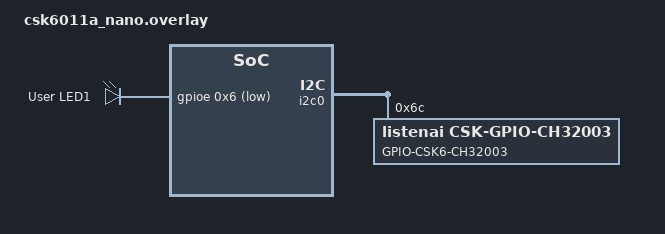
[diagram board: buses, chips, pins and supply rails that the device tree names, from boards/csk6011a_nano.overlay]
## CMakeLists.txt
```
# SPDX-License-Identifier: Apache-2.0

cmake_minimum_required(VERSION 3.20.0)

find_package(Zephyr REQUIRED HINTS $ENV{ZEPHYR_BASE})
project(hello_world)

target_sources(app PRIVATE src/main.c src/boot_cp.c)
```

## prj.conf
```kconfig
# nothing here
CONFIG_GPIO=y
CONFIG_GPIO_CSK6_CH32V003=y
CONFIG_LOG=y
```

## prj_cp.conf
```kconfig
# nothing here
CONFIG_CSK6_PSRAM=y
```

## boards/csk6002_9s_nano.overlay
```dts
&pinctrl {
    pinctrl_uart1_rx_default: uart1_rx_default{
        pinctrls = <UART1_RXD_GPIOA_05>;
    };

    pinctrl_uart1_tx_default: uart1_tx_default{
        pinctrls = <UART1_TXD_GPIOA_04>;
    };
};

&uart0 {
    // dmas = <&dma0 0 1>, <&dma0 0 1>; 
    // dma-names = "tx", "rx";
};

&uart1 {
    pinctrl-0 = <&pinctrl_uart1_rx_default &pinctrl_uart1_tx_default>;
    pinctrl-names = "default";
    dmas = <&dma0 0 1>, <&dma0 1 1>;
    dma-names = "tx", "rx";
    status = "okay";
    current-speed = <115200>;
};

&dma0 {
    status = "okay";
};
```

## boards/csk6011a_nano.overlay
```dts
/ {
	leds {
		compatible = "gpio-leds";
		green_led: led1 {
			gpios = <&gpioe 0x6 0x1>;
			label = "User LED1";
		};
	};
};

&pinctrl {

	pinctrl_i2c0_scl_default: i2c0_scl_default{
		pinctrls = <I2C0_SCL_GPIOB_10>;
	};

	pinctrl_i2c0_sda_default: i2c0_sda_default{
		pinctrls = <I2C0_SDA_GPIOB_11>;
	};  
};

&i2c0 {
	status = "okay";
	pinctrl-0 = <&pinctrl_i2c0_scl_default &pinctrl_i2c0_sda_default>;
	pinctrl-names = "default";
	csk6_ch32v003@6c {
		compatible = "listenai,csk-gpio-ch32003";
		reg = <0x6c>;
		label = "GPIO-CSK6-CH32003";
		status = "okay";
		#address-cells = <1>;
		#size-cells = <0>;

		gpioc: gpio@0 {
			compatible = "listenai,csk-gpio-ch32003-port";
			label = "GPIOC";
			reg = <0x00>;
			status = "okay";
			ngpios = <8>;
			#gpio-cells = <2>;
			gpio-controller;
			pin_mask = <0x00>;
		};

		gpiod: gpio@1 {
			compatible = "listenai,csk-gpio-ch32003-port";
			label = "GPIOD";
			reg = <0x01>;
			status = "okay";
			ngpios = <8>;
			#gpio-cells = <2>;
			gpio-controller;
			pin_mask = <0xff>;
		};

		gpioe: gpio@2 {
			compatible = "listenai,csk-gpio-ch32003-port";
			label = "GPIOE";
			reg = <0x02>;
			status = "okay";
			ngpios = <8>;
			#gpio-cells = <2>;
			gpio-controller;
		};
	};
};
```

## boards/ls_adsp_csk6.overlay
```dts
&ls_adsp_csk6_pinctrl{
                pinctrl_uart2_tx_default: uart2_tx_default {
                        pinctrls = < &pinmuxb 0x4 0x3 >;
                };
};

&spi_fake {
        status = "okay";

        
};
```

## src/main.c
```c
/*
 * Copyright (c) 2012-2014 Wind River Systems, Inc.
 *
 * SPDX-License-Identifier: Apache-2.0
 */

#include <zephyr/zephyr.h>

extern void boot_cp(void);
void main(void)
{
	printk("Hello World! %s\n", CONFIG_BOARD);
	boot_cp();
	printk("after boot cp !\n");

}
```

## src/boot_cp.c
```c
#include <zephyr/zephyr.h>
#include <stdint.h>
#include <stdbool.h>
#include <zephyr/device.h>
#include <zephyr/devicetree.h>
#include <zephyr/storage/flash_map.h>
#include <zephyr/logging/log.h>
#include "venus_ap.h"
LOG_MODULE_REGISTER(boot_cp, CONFIG_LOG_DEFAULT_LEVEL);

#define CP_FLASH_BASE_ADDRESS (0x68000000)
#define FLASH_CP_IMAGE_REGION_OFFSET (0x90000)
#define CP_BOOT_ADDRESS   (CP_FLASH_BASE_ADDRESS + FLASH_CP_IMAGE_REGION_OFFSET)

#define CP_XIP (1)
extern void dcache_invalidate_range(unsigned long start, unsigned long end);
void boot_cp(void)
{

	// set boot address
	printk("CP XIP start addr(0x%x)\n", CP_BOOT_ADDRESS);
	IP_SYSCTRL->REG_CP_CTRL2.bit.CP_BOOT_ADDR = CP_BOOT_ADDRESS;

	IP_SYSCTRL->REG_CP_CTRL1.bit.CP_STAT_VECTOR_SEL = 1;

	// stall HIFI4
	IP_SYSCTRL->REG_CP_CTRL1.bit.CP_HIFI4_RUNSTALL = 1;

	// release CP & NPU
	IP_SYSCTRL->REG_SW_RESET_CP.all = 0xCAFE100B;
	if (IP_SYSCTRL->REG_SW_RESET_NPU.all)
		IP_SYSCTRL->REG_SW_RESET_NPU.all = 0xCAFE000C;
	__DMB();
	__DSB();

	// run cp
	IP_SYSCTRL->REG_SW_RESET_CP.all = 0xCAFE000B;
	IP_SYSCTRL->REG_SW_RESET_CP.all = 0xCAFE100B;
	IP_SYSCTRL->REG_CP_CTRL1.bit.CP_HIFI4_RUNSTALL = 0x0;

/*------------------------------private define------------------------------------*/
#define MEM_BANK_CNT 4
#define SHAREMEMORY_BANK0_REMAP 1
#define AP_SYS_RAM_BANK_SIZE 0x00010000
#define AP_SYS_RAM_BANK_ADDR (0x20080000 + AP_SYS_RAM_BANK_SIZE * MEM_BANK_CNT)
	IP_SYSCTRL->REG_AP_CTRL1.bit.AP_RAM_SEL = (SHAREMEMORY_BANK0_REMAP << MEM_BANK_CNT);
	memset((void *)AP_SYS_RAM_BANK_ADDR, 0x00, AP_SYS_RAM_BANK_SIZE);
	// clean & invalidate cache, 确保后续读取到的对象来自于对端写入的共享内存.
	dcache_invalidate_range(AP_SYS_RAM_BANK_ADDR, AP_SYS_RAM_BANK_ADDR + AP_SYS_RAM_BANK_SIZE);

	// #define MEM_BANK1_CNT 3
	// #define AP_SYS_RAM_BANK1_ADDR (0x20080000 + AP_SYS_RAM_BANK_SIZE * MEM_BANK1_CNT)
	// 	IP_SYSCTRL->REG_AP_CTRL1.bit.AP_RAM_SEL = (SHAREMEMORY_BANK0_REMAP << MEM_BANK1_CNT);
	// 	memset((void *)AP_SYS_RAM_BANK1_ADDR, 0x00, AP_SYS_RAM_BANK_SIZE);
	// 	// clean & invalidate cache, 确保后续读取到的对象来自于对端写入的共享内存.
	// 	dcache_invalidate_range(AP_SYS_RAM_BANK1_ADDR, AP_SYS_RAM_BANK1_ADDR + AP_SYS_RAM_BANK_SIZE);

	// enable usb clock
	IP_SYSCTRL->REG_MISC_CLK_CFG2.bit.ENA_USBC_CLK = 0x01;
}
```

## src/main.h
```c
/*
 * main.h
 *
 *  Created on: Nov. 6, 2020
 *      Author: bauldeng
 */

#ifndef __AUD_IN_AUD_OUT_MAIN_H
#define __AUD_IN_AUD_OUT_MAIN_H

#include <string.h>
#include <stdbool.h>
#include <assert.h>

#include "venus_cp.h"
#include "IOMuxManager.h"
#include "venus_log.h"
#include "Driver_I2S.h"
#include "Driver_ADC_PDM.h"
#include "Driver_DAC.h"
#include "Driver_GPIO.h"

//----------------------------------------------------------------------------
#define IOMUX_V4    4
#define IOMUX_V5    5
#define IOMUX_VER   IOMUX_V5 // IOMUX_V4


#if (IOMUX_VER == IOMUX_V4)

// I2S2 Pin
#define I2S2_MCLK   5 // GPIOB, 5, 1
#define I2S2_BCK    6 // GPIOB, 6, 1
#define I2S2_LRCK   7 // GPIOB, 7, 1
#define I2S2_DOUT   8 // GPIOB, 8, 1
#define I2S2_DIN    9 // GPIOB, 9, 1

// I2S2 Pin function select
#define I2S2_FUNC   1 // function 1

// I2S2 Pin group
#define I2S2_GROUP  CSK_IOMUX_PAD_B

// I2S1 Pin
#define I2S1_MCLK   0 // GPIOB, 0, 2
#define I2S1_BCK    6 // GPIOB, 6, 2
#define I2S1_LRCK   7 // GPIOB, 7, 2
#define I2S1_DOUT   8 // GPIOB, 8, 2
#define I2S1_DIN    9 // GPIOB, 9, 2

// I2S1 Pin function select
#define I2S1_FUNC   2 // function 2

// I2S1 Pin group
#define I2S1_GROUP  CSK_IOMUX_PAD_B

// I2S0 Pin
#define I2S0_MCLK   I2S1_MCLK
#define I2S0_BCK    1 // GPIOB, 1, 1
#define I2S0_LRCK   2 // GPIOB, 2, 1
#define I2S0_DIN    3 // GPIOB, 3, 1

// I2S0 Pin function select
#define I2S0_FUNC   1 // function 1 (except MCLK)

// I2S0 Pin group
#define I2S0_GROUP  CSK_IOMUX_PAD_B

// I2C0 Pin
#define I2C0_SCL    17 // GPIOA, 17, 6
#define I2C0_SDA    18 // GPIOA, 18, 6

// I2C0 Pin function select
#define I2C0_FUNC   6 // function 6

// I2C0 Pin group
#define I2C0_GROUP  CSK_IOMUX_PAD_A

// I2C1 Pin
#define I2C1_SCL    17 // GPIOA, 17, 7
#define I2C1_SDA    18 // GPIOA, 18, 7

// I2C1 Pin function select
#define I2C1_FUNC   7 // function 7

// I2C1 Pin group
#define I2C1_GROUP  CSK_IOMUX_PAD_A

#elif (IOMUX_VER == IOMUX_V5)

//-----------------------------------
// I2S2 Pin
#define I2S2_MCLK   15 // GPIOA, 15, 15
#define I2S2_BCK    16 // GPIOA, 16, 15
#define I2S2_LRCK   17 // GPIOA, 17, 15
#define I2S2_DIN    18 // GPIOA, 18, 15
#define I2S2_DOUT   9 // GPIOA, 9, 15

//// I2S2 Pin
//#define I2S2_MCLK   5 // GPIOA, 5, 15
//#define I2S2_BCK    6 // GPIOA, 6, 15
//#define I2S2_LRCK   7 // GPIOA, 7, 15
//#define I2S2_DIN    8 // GPIOA, 8, 15
//#define I2S2_DOUT   9 // GPIOA, 9, 15

//// I2S2 Pin
//#define I2S2_MCLK   15 // GPIOA, 15, 15
//#define I2S2_BCK    16 // GPIOA, 16, 15
//#define I2S2_LRCK   17 // GPIOA, 17, 15
//#define I2S2_DIN    18 // GPIOA, 18, 15
//#define I2S2_DOUT   19 // GPIOA, 19, 15

// I2S2 Pin function select
#define I2S2_FUNC   15 // function 15

// I2S2 Pin group
#define I2S2_GROUP  CSK_IOMUX_PAD_A

//-----------------------------------
// I2S1 Pin
#define I2S1_MCLK   0  // GPIOA, 6, 14
#define I2S1_BCK    8 // GPIOA, 16, 14
#define I2S1_LRCK   7 // GPIOA, 17, 14
#define I2S1_DIN    6 // GPIOA, 18, 14
#define I2S1_DOUT   2 // GPIOA, 15, 14

// I2S1 Pin function select
#define I2S1_FUNC   14 // function 14

// I2S1 Pin group
#define I2S1_GROUP  CSK_IOMUX_PAD_B

//// I2S1 Pin
//#define I2S1_MCLK   6 // GPIOA, 6, 14
//#define I2S1_BCK    7 // GPIOA, 7, 14
//#define I2S1_LRCK   8 // GPIOA, 8, 14
//#define I2S1_DIN    4 // GPIOA, 4, 14
//#define I2S1_DOUT   5 // GPIOA, 5, 14
//
//// I2S1 Pin function select
//#define I2S1_FUNC   14 // function 14
//
//// I2S1 Pin group
//#define I2S1_GROUP  CSK_IOMUX_PAD_A

//// I2S1 Pin
//#define I2S1_MCLK   0 // GPIOB, 0, 14
//#define I2S1_BCK    8 // GPIOB, 8, 14
//#define I2S1_LRCK   7 // GPIOB, 7, 14
//#define I2S1_DIN    6 // GPIOB, 6, 14
//#define I2S1_DOUT   1 // GPIOB, 1, 14
//
//// I2S1 Pin function select
//#define I2S1_FUNC   14 // function 14
//
//// I2S1 Pin group
//#define I2S1_GROUP  CSK_IOMUX_PAD_B

//-----------------------------------
// I2S0 Pin

//#define I2S0_MCLK   6  // GPIOA, 6, 14
//#define I2S0_MCLK_GROUP     CSK_IOMUX_PAD_A
//#define I2S0_MCLK_FUNC      14 // function 14 (same as I2S1 MCLK)
//
//#define I2S0_BCK    2 // GPIOB, 2, 15
//#define I2S0_LRCK   1 // GPIOB, 1, 15
//#define I2S0_DIN    0 // GPIOB, 0, 15


#define I2S0_MCLK   0  // GPIOB, 0, 15
#define I2S0_MCLK_GROUP     CSK_IOMUX_PAD_B
#define I2S0_MCLK_FUNC      14 // function 14 (same as I2S1 MCLK)

#define I2S0_BCK    8 // GPIOB, 8, 15
#define I2S0_LRCK   7 // GPIOB, 7, 15
#define I2S0_DIN    6 // GPIOB, 6, 15


// I2S0 Pin function select
#define I2S0_FUNC       15 // function 15 (except MCLK)

// I2S0 Pin group
#define I2S0_GROUP  CSK_IOMUX_PAD_B


//NOTE: I2C0 and I2C1 cannot coexist in the following pin configuration!!
//-----------------------------------
// I2C0 Pin

#define I2C0_SCL    4 // GPIOA, 4, 8
#define I2C0_SDA    5 // GPIOA, 5, 8

//#define I2C0_SCL    6 // GPIOA, 6, 8
//#define I2C0_SDA    7 // GPIOA, 7, 8

// I2C0 Pin function select
#define I2C0_FUNC   8 // function 8

// I2C0 Pin group
#define I2C0_GROUP  CSK_IOMUX_PAD_A

//-----------------------------------
// I2C1 Pin

#define I2C1_SCL    7 // GPIOA, 7, 9
#define I2C1_SDA    6 // GPIOA, 6, 9

//#define I2C1_SCL    5 // GPIOA, 5, 9
//#define I2C1_SDA    4 // GPIOA, 4, 9

// I2C1 Pin function select
#define I2C1_FUNC   9 // function 9

// I2C1 Pin group
#define I2C1_GROUP  CSK_IOMUX_PAD_A

//-----------------------------------
// DMIC Pin

//#define DMIC01_CLK    8     // GPIOA, 8, 17
//#define DMIC01_DAT    13    // GPIOA, 13, 17
#define DMIC01_CLK    16    // GPIOA, 16, 17
#define DMIC01_DAT    17    // GPIOA, 17, 17

//#define DMIC23_CLK    18    // GPIOA, 18, 17
#define DMIC23_CLK    2     // GPIOA, 2, 17
#define DMIC23_DAT    7     // GPIOA, 7, 17

// DMIC01/DMIC23 Pin function select
#define DMIC_FUNC   17      // function 17

// DMIC01/DMIC23 Pin group
#define DMIC_GROUP  CSK_IOMUX_PAD_A

#endif // V5


//----------------------------------------------------------------------------
//I2C device operations
void * get_i2c_dev();
bool init_i2c_dev(void *i2c_dev);
bool i2c_write(void *i2c_dev, uint32_t addr, const uint8_t* data, uint32_t num, uint32_t max_wait_ms);
bool i2c_read(void *i2c_dev, uint32_t addr, uint8_t* data, uint32_t num, uint32_t max_wait_ms);

//I2S/ADC_PDM/DAC functions
bool trigger_i2s_in();
bool trigger_i2s_out();
bool trigger_adc_dmic_in();
bool trigger_dac_out();

bool i2s_oneshot_play();
bool i2s_oneshot_record();
bool dmic_oneshot_record();
bool adc_oneshot_record();
bool dac_oneshot_play();

//I2S/ADC_PDM/DAC callback functions
void cb_i2s_in_event(uint32_t event_info, uint32_t usr_param);
void cb_i2s_out_event(uint32_t event_info, uint32_t usr_param);
void cb_i2s_inout_event(uint32_t event_info, uint32_t usr_param);
void cb_adc_dmic_in_event(uint32_t event_info, uint32_t usr_param);
void cb_dac_out_event(uint32_t event_info, uint32_t usr_param);

void cb_i2s_oneshot_play_event(uint32_t event_info, uint32_t usr_param);
void cb_i2s_oneshot_record_event(uint32_t event_info, uint32_t usr_param);
void cb_dmic_oneshot_record_event(uint32_t event_info, uint32_t usr_param);
void cb_adc_oneshot_record_event(uint32_t event_info, uint32_t usr_param);
void cb_dac_oneshot_play_event(uint32_t event_info, uint32_t usr_param);


// init I2S IN device (also init ES7210 codec if mic_in_bmp != 0)
void * init_i2s_es7210_in(bool i2s_master, uint16_t i2s_ch_bmp, uint16_t mic_in_bmp, uint8_t use_tdm, uint8_t ch_bits,
                        I2S_PROTOCOL i2s_prt, uint32_t sampling_freq, CSK_I2S_SignalEvent_t cb_event);
// init I2S IN device (also init WM8960 codec if mic_in_bmp != 0)
void * init_i2s_wm8960_in(bool i2s_master, uint16_t i2s_ch_bmp, uint16_t mic_in_bmp, uint8_t use_tdm, uint8_t ch_bits,
                        I2S_PROTOCOL i2s_prt, uint32_t sampling_freq, CSK_I2S_SignalEvent_t cb_event);
// init I2S OUT device (also init WM8960 codec if spk_out_bmp != 0)
void * init_i2s_wm8960_out(bool i2s_master, uint16_t i2s_ch_bmp, uint16_t spk_out_bmp, uint8_t use_tdm, uint8_t ch_bits,
                        I2S_PROTOCOL i2s_prt, uint32_t sampling_freq, CSK_I2S_SignalEvent_t cb_event);

// init I2S IN/OUT device (WM8960 codec)
void * init_i2s_wm8960_inout(bool i2s_master, uint16_t i2s_ch_bmp, uint8_t use_tdm, uint8_t ch_bits,
                        I2S_PROTOCOL i2s_prt, uint32_t sampling_freq, CSK_I2S_SignalEvent_t cb_event);

// init DMIC IN device group (support samp_bits = 24 only)
void * init_dmic_in(uint8_t dev_bmp, uint8_t use_16bits, uint32_t sampling_freq, CSK_ADC_PDM_SignalEvent_t cb_event);

// init ADC IN device group (support samp_bits = 24 only)
void * init_adc_in(uint8_t dev_bmp, uint8_t use_16bits, uint32_t sampling_freq, CSK_ADC_PDM_SignalEvent_t cb_event);

// init DAC OUT device group (support samp_bits = 24 only)
void * init_dac_out(uint8_t dev_bmp, uint8_t use_16bits, uint32_t sampling_freq, CSK_DAC_SignalEvent_t cb_event);

#endif /* __AUD_IN_AUD_OUT_MAIN_H */
```
